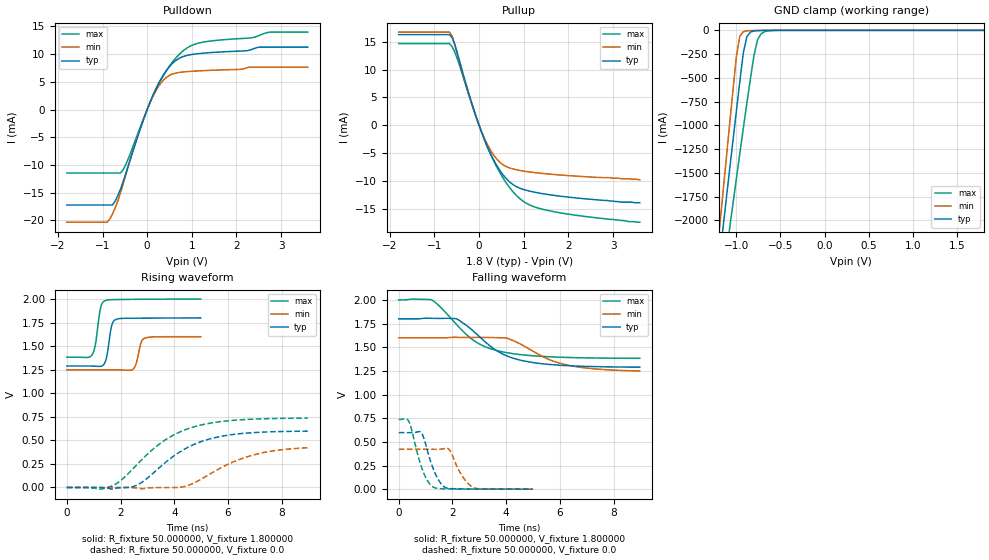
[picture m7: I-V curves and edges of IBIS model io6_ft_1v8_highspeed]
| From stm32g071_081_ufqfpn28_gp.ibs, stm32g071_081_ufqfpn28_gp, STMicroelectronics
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|   Model io6_ft_1v8_highspeed
[Model]  io6_ft_1v8_highspeed
Model_type I/O
Polarity   Non-Inverting
Enable   Active-Low
Vinl =   0.540000V
Vinh =   1.260000V
Vmeas =  0.900000V
Cref =   40.000000pF
Rref =   100.000000M
Vref =   0.0V
C_comp   1.277600pF   1.236700pF   1.315100pF
[Temperature Range]   25.000000   -40.000000   0.125000k
[Pullup Reference]   1.800000V   1.600000V   2.000000V
[Pulldown Reference]   0.0V   0.0V   0.0V
[POWER Clamp Reference]   1.800000V   1.600000V   2.000000V
[GND Clamp Reference]   0.0V   0.0V   0.0V
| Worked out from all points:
|   slope of the pulldown table from 0 to 0.27 V, typ, clamps not added: 54.7 ohm
|   slope of the pullup table from 0 to 0.27 V, typ, clamps not added: 50.6 ohm
|   GND clamp passes 1 mA (typ) near -0.66 V on its own axis
|   rising waveform, R_fixture 50.000000, V_fixture 1.800000: 20-80 % time 166ps typ, 169ps min, 180ps max; typ from 1.29 V to 1.8 V
|   rising waveform, R_fixture 50.000000, V_fixture 0.0: 20-80 % time 1.84ns typ, 1.87ns min, 1.92ns max; typ from 0 V to 0.598 V
|   falling waveform, R_fixture 50.000000, V_fixture 1.800000: 20-80 % time 1.52ns typ, 1.61ns min, 1.5ns max; typ from 1.8 V to 1.29 V
|   falling waveform, R_fixture 50.000000, V_fixture 0.0: 20-80 % time 439ps typ, 480ps min, 450ps max; typ from 0.598 V to 0 V
[Pulldown]
|Voltage   I(typ)   I(min)   I(max)
-1.8V     -17.22mA   -20.33mA   -11.45mA
-900mV    -17.22mA   -20.33mA   -11.45mA
-720mV    -16.58mA   -17.82mA   -11.45mA
-600mV    -14.41mA   -15.08mA   -11.45mA
-480mV    -11.58mA   -11.79mA   -9.954mA
0V        10fA       11fA       0A
240mV     4.49mA     3.999mA    4.291mA
480mV     7.563mA    6.085mA    7.612mA
780mV     9.487mA    6.76mA     10.43mA
1.14V     10.08mA    6.976mA    11.96mA
2.76V     11.26mA    7.652mA    13.98mA
3.6V      11.26mA    7.652mA    13.98mA
[Pullup]
|Voltage   I(typ)   I(min)   I(max)
-1.8V     16.28mA    16.74mA    14.68mA
-660mV    16.28mA    16.74mA    14.68mA
-600mV    15.66mA    15.96mA    14.07mA
-480mV    12.75mA    12.58mA    11.77mA
-180mV    4.421mA    4.232mA    4.226mA
120mV     -2.605mA   -2.366mA   -2.563mA
420mV     -7.546mA   -6.273mA   -7.834mA
600mV     -9.499mA   -7.385mA   -10.25mA
780mV     -10.75mA   -7.883mA   -12.12mA
1.08V     -11.72mA   -8.32mA    -14.1mA
1.44V     -12.3mA    -8.657mA   -15.11mA
3.6V      -13.9mA    -9.8mA     -17.4mA
[GND_clamp]
|Voltage   I(typ)   I(min)   I(max)
-1.8V     -7.471A    -7.973A    -7.298A
-1.2V     -2.489A    -2.18A     -2.954A
-1.16V    -2.16A     -1.797A    -2.674A
-1.08V    -1.505A    -1.034A    -2.118A
-1V       -857.9mA   -283.1mA   -1.568A
-960mV    -540.4mA   -62.14mA   -1.296A
-920mV    -234.4mA   -13.75mA   -1.028A
-880mV    -66.29mA   -4.855mA   -765.3mA
-800mV    -6.505mA   -2.056mA   -266mA
-760mV    -3.074mA   -1.45mA    -100.4mA
-680mV    -1.215mA   -557.1uA   -14.19mA
1.8V      0A         0A         0A
[POWER_clamp]
|Voltage   I(typ)   I(min)   I(max)
-1.8V     0A         0A         0A
0V        0A         0A         0A
[Ramp]
| variable   typ   min   max
dV/dt_r  0.34918/1.74945n   0.20615/1.41472n   0.43502/1.86944n
dV/dt_f  0.30018/1.46014n   0.18900/1.35727n   0.36678/1.46795n
R_load = 50.000000
[Rising Waveform]
R_fixture= 50.000000
V_fixture= 1.800000
V_fixture_min= 1.600000
V_fixture_max= 2.000000
|time   V(typ)   V(min)   V(max)
0s        1.29V      1.249V     1.383V
940.9ps   1.289V     1.249V     1.409V
1.061ns   1.287V     1.249V     1.515V
1.261ns   1.286V     1.249V     1.911V
1.421ns   1.328V     1.249V     1.983V
1.672ns   1.72V      1.249V     1.994V
1.842ns   1.785V     1.248V     1.995V
2.492ns   1.797V     1.264V     1.997V
2.933ns   1.797V     1.588V     1.998V
4.985ns   1.8V       1.6V       2V
[Rising Waveform]
R_fixture= 50.000000
V_fixture= 0.0
V_fixture_min= 0.0
V_fixture_max= 0.0
|time   V(typ)   V(min)   V(max)
0s        524.8nV    1.223uV    -3.017uV
1.568ns   -10.41mV   -6.065uV   4.673mV
1.982ns   -3.472mV   140.5uV    68.49mV
2.505ns   13.21mV    -3.419mV   210.9mV
3.586ns   245.3mV    -1.024mV   489.7mV
4.252ns   385.3mV    3.462mV    594.6mV
4.757ns   459.9mV    50.71mV    645.5mV
5.748ns   543.6mV    209.9mV    699.9mV
6.667ns   576.6mV    322mV      721.5mV
8.973ns   597.8mV    421.4mV    736.3mV
[Falling Waveform]
R_fixture= 50.000000
V_fixture= 1.800000
V_fixture_min= 1.600000
V_fixture_max= 2.000000
|time   V(typ)   V(min)   V(max)
0s        1.8V       1.6V       2V
1.243ns   1.806V     1.6V       1.998V
2.162ns   1.799V     1.605V     1.738V
2.919ns   1.634V     1.604V     1.548V
3.712ns   1.452V     1.601V     1.461V
4.036ns   1.407V     1.595V     1.442V
4.595ns   1.359V     1.524V     1.42V
5.532ns   1.32V      1.378V     1.4V
6.252ns   1.306V     1.313V     1.392V
8.973ns   1.29V      1.249V     1.383V
[Falling Waveform]
R_fixture= 50.000000
V_fixture= 0.0
V_fixture_min= 0.0
V_fixture_max= 0.0
|time   V(typ)   V(min)   V(max)
0s        597.8mV    421.4mV    736.3mV
390.4ps   597.3mV    421.5mV    707.1mV
840.8ps   596.3mV    421.6mV    238.2mV
1.071ns   402.6mV    421.5mV    88.29mV
1.311ns   196.4mV    421mV      18.32mV
1.622ns   41.91mV    424.9mV    4.034mV
1.862ns   7.912mV    424.7mV    2.507mV
2.382ns   2.543mV    130.8mV    1.293mV
2.793ns   1.353mV    14.28mV    859.5uV
4.985ns   524.8nV    1.223uV    -3.017uV
